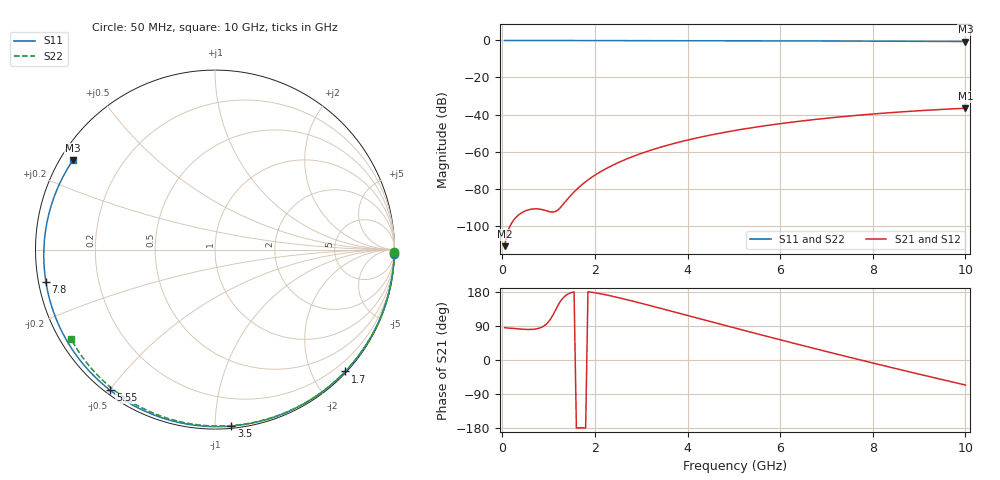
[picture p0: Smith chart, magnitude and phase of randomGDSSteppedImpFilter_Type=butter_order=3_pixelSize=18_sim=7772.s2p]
! freq	dB(S11)	phase(S11)	dB(S12)	phase(S12)
!  dB(S21)	phase(S21)	dB(S22)	phase(S22)
!S-par simulation data
#  GHz  S  DB  R 50
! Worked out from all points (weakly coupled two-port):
!   200 points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, 50 MHz to 10 GHz, reference 50 ohm
!   highest |S21| = -36.61 dB at 10 GHz (marker M1); lowest = -111.1 dB at 50 MHz (marker M2)
!   lowest |S11| = -0.6 dB at 10 GHz (marker M3), VSWR 29.92, Z = 1.81 + j14.4 ohm
!   |S11| at or under -10 dB: nowhere
!   |S22| runs from -0.5 to 0.0 dB; largest |S21 - S12| = 0
!   S11 on the Smith chart (normalised r, x): 50 MHz: 2, -91; 1.7 GHz: 0.02, -2.53; 3.5 GHz: 0.01, -1.10; 5.55 GHz: 0.01, -0.50; 7.8 GHz: 0.02, -0.10; 10 GHz: 0.04, +0.29
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0.05  -0.00 -1.3  -111.09 85.5  -111.09 85.5  -0.00 -0.8
0.45  -0.02 -11.6  -92.60 81.1  -92.60 81.1  -0.01 -7.7
0.8  -0.03 -20.6  -91.05 84.1  -91.05 84.1  -0.02 -13.7
1.6  -0.05 -40.6  -80.55 -179.5  -80.55 -179.5  -0.03 -27.1
1.65  -0.05 -41.8  -79.39 -179.0  -79.39 -179.0  -0.04 -28.0
1.7  -0.05 -43.1  -78.29 -178.9  -78.29 -178.9  -0.04 -28.8
1.75  -0.06 -44.3  -77.25 -179.1  -77.25 -179.1  -0.04 -29.6
2.05  -0.07 -51.5  -71.96 176.4  -71.96 176.4  -0.04 -34.6
2.45  -0.08 -61.0  -66.58 166.2  -66.58 166.2  -0.05 -41.1
2.9  -0.09 -71.4  -61.90 152.8  -61.90 152.8  -0.06 -48.3
3.4  -0.11 -82.5  -57.77 136.9  -57.77 136.9  -0.07 -56.2
3.5  -0.11 -84.7  -57.04 133.7  -57.04 133.7  -0.08 -57.8
4.25  -0.14 -100.7  -52.37 109.4  -52.37 109.4  -0.10 -69.3
5.05  -0.17 -116.9  -48.51 83.6  -48.51 83.6  -0.12 -81.1
5.55  -0.20 -126.7  -46.51 67.6  -46.51 67.6  -0.14 -88.4
6.15  -0.23 -138.1  -44.45 48.6  -44.45 48.6  -0.17 -96.8
6.7  -0.27 -148.5  -42.81 31.5  -42.81 31.5  -0.20 -104.4
7.25  -0.31 -158.8  -41.38 14.7  -41.38 14.7  -0.24 -111.8
7.8  -0.36 -169.1  -40.13 -2.0  -40.13 -2.0  -0.28 -119.2
8.35  -0.41 -179.5  -39.04 -18.3  -39.04 -18.3  -0.32 -126.4
9.2  -0.50 164.0  -37.64 -43.2  -37.64 -43.2  -0.41 -137.6
10  -0.58 147.8  -36.61 -66.0  -36.61 -66.0  -0.50 -148.1
